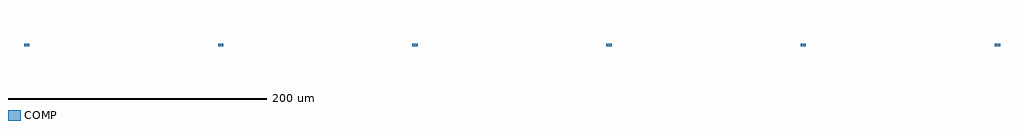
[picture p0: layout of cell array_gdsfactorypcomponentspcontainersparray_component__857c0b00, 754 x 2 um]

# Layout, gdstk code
import gdstk
lib = gdstk.Library(unit=1e-6, precision=1e-09)
def R(c, l, rs):  # rectangles x0, y0, x1, y1
    for r in rs: c.add(gdstk.rectangle(r[:2], r[2:], *l))
COMP = (22, 0)

rectangle_gdsfactorypcom = lib.new_cell('rectangle_gdsfactorypcomponentspshapesprectangle_S4_2_L_b43d9cb4')
R(rectangle_gdsfactorypcom, COMP, [(0,0,4,2)])

array_gdsfactorypcompone = lib.new_cell('array_gdsfactorypcomponentspcontainersparray_component__857c0b00')
r = gdstk.Reference(rectangle_gdsfactorypcom, (0,0)); r.repetition = gdstk.Repetition(6, 1, v1=(150,0), v2=(0,0)); array_gdsfactorypcompone.add(r)

lib.write_gds('array_gdsfactorypcomponentspcontainersparray_component__857c0b00.gds')
